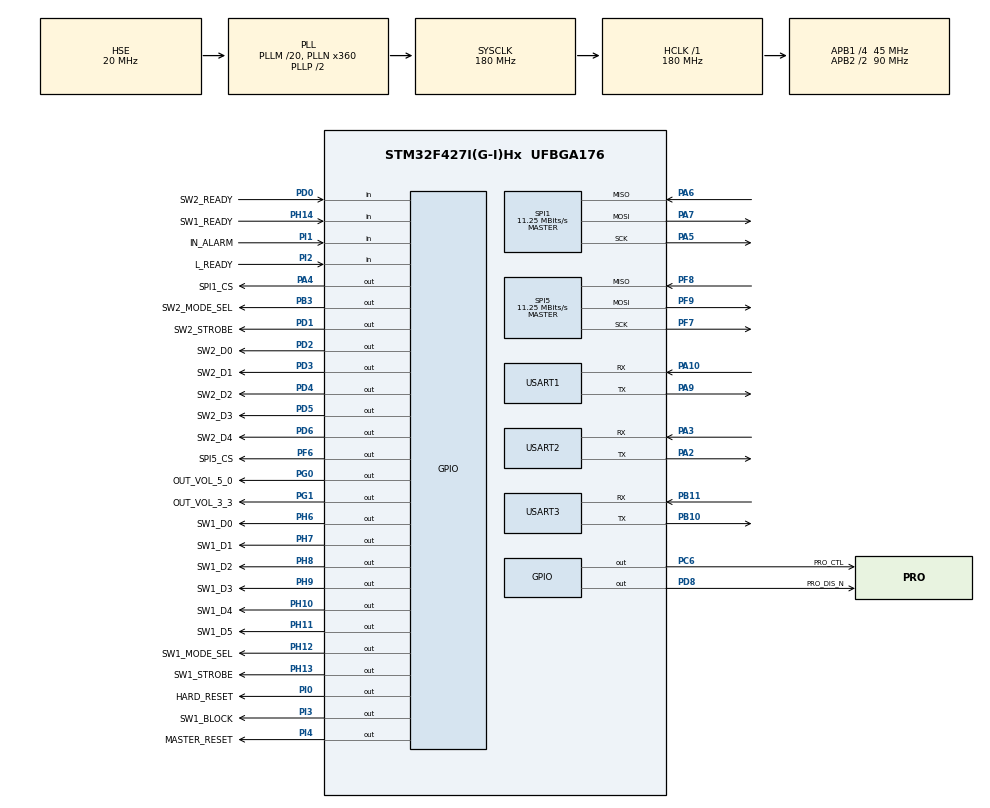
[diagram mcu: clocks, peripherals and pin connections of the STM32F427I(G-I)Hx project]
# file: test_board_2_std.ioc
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Mcu.Family=STM32F4
Mcu.Name=STM32F427I(G-I)Hx
Mcu.Package=UFBGA176
NVIC.PriorityGroup=NVIC_PRIORITYGROUP_4
NVIC.TIM2_IRQn=true\:0\:0\:false\:false\:true\:true\:true
NVIC.TIM3_IRQn=true\:0\:0\:false\:false\:true\:true\:true
NVIC.USART1_IRQn=true\:0\:0\:false\:false\:true\:true\:true
NVIC.USART2_IRQn=true\:0\:0\:false\:false\:true\:true\:true
NVIC.USART3_IRQn=true\:0\:0\:false\:false\:true\:true\:true
PA10.Mode=Asynchronous
PA10.Signal=USART1_RX
PA2.Mode=Asynchronous
PA2.Signal=USART2_TX
PA3.Mode=Asynchronous
PA3.Signal=USART2_RX
PA4.GPIO_Label=SPI1_CS
PA4.Signal=GPIO_Output
PA5.Mode=Full_Duplex_Master
PA5.Signal=SPI1_SCK
PA6.Mode=Full_Duplex_Master
PA6.Signal=SPI1_MISO
PA7.Mode=Full_Duplex_Master
PA7.Signal=SPI1_MOSI
PA9.Mode=Asynchronous
PA9.Signal=USART1_TX
PB10.Mode=Asynchronous
PB10.Signal=USART3_TX
PB11.Mode=Asynchronous
PB11.Signal=USART3_RX
PB3.GPIO_Label=SW2_MODE_SEL
PB3.GPIO_PuPd=GPIO_PULLUP
PB3.Signal=GPIO_Output
PC6.GPIO_Label=PRO_CTL
PC6.Signal=GPIO_Output
PD0.GPIO_Label=SW2_READY
PD0.Signal=GPIO_Input
PD1.GPIO_Label=SW2_STROBE
PD1.GPIO_PuPd=GPIO_PULLUP
PD1.Signal=GPIO_Output
PD2.GPIO_Label=SW2_D0
PD2.GPIO_PuPd=GPIO_PULLDOWN
PD2.Signal=GPIO_Output
PD3.GPIO_Label=SW2_D1
PD3.GPIO_PuPd=GPIO_PULLDOWN
PD3.Signal=GPIO_Output
PD4.GPIO_Label=SW2_D2
PD4.GPIO_PuPd=GPIO_PULLDOWN
PD4.Signal=GPIO_Output
PD5.GPIO_Label=SW2_D3
PD5.GPIO_PuPd=GPIO_PULLDOWN
PD5.Signal=GPIO_Output
PD6.GPIO_Label=SW2_D4
PD6.GPIO_PuPd=GPIO_PULLDOWN
PD6.Signal=GPIO_Output
PD8.GPIO_Label=PRO_DIS_N
PD8.GPIO_PuPd=GPIO_PULLUP
PD8.Signal=GPIO_Output
PF6.GPIO_Label=SPI5_CS
PF6.Signal=GPIO_Output
PF7.Mode=Full_Duplex_Master
PF7.Signal=SPI5_SCK
PF8.Mode=Full_Duplex_Master
PF8.Signal=SPI5_MISO
PF9.Mode=Full_Duplex_Master
PF9.Signal=SPI5_MOSI
PG0.GPIO_Label=OUT_VOL_5_0
PG0.GPIO_PuPd=GPIO_PULLDOWN
PG0.Signal=GPIO_Output
PG1.GPIO_Label=OUT_VOL_3_3
PG1.GPIO_PuPd=GPIO_PULLDOWN
PG1.Signal=GPIO_Output
PH0/OSC_IN.Mode=HSE-External-Oscillator
PH0/OSC_IN.Signal=RCC_OSC_IN
PH1/OSC_OUT.Mode=HSE-External-Oscillator
PH1/OSC_OUT.Signal=RCC_OSC_OUT
PH10.GPIO_Label=SW1_D4
PH10.GPIO_PuPd=GPIO_PULLDOWN
PH10.Signal=GPIO_Output
PH11.GPIO_Label=SW1_D5
PH11.GPIO_PuPd=GPIO_PULLDOWN
PH11.Signal=GPIO_Output
PH12.GPIO_Label=SW1_MODE_SEL
PH12.GPIO_PuPd=GPIO_PULLUP
PH12.Signal=GPIO_Output
PH13.GPIO_Label=SW1_STROBE
PH13.GPIO_PuPd=GPIO_PULLUP
PH13.Signal=GPIO_Output
PH14.GPIO_Label=SW1_READY
PH14.Signal=GPIO_Input
PH6.GPIO_Label=SW1_D0
PH6.GPIO_PuPd=GPIO_PULLDOWN
PH6.Signal=GPIO_Output
PH7.GPIO_Label=SW1_D1
PH7.GPIO_PuPd=GPIO_PULLDOWN
PH7.Signal=GPIO_Output
PH8.GPIO_Label=SW1_D2
PH8.GPIO_PuPd=GPIO_PULLDOWN
PH8.Signal=GPIO_Output
PH9.GPIO_Label=SW1_D3
PH9.GPIO_PuPd=GPIO_PULLDOWN
PH9.Signal=GPIO_Output
PI0.GPIO_Label=HARD_RESET
PI0.GPIO_PuPd=GPIO_PULLUP
PI0.Signal=GPIO_Output
PI1.GPIO_Label=IN_ALARM
PI1.Signal=GPIO_Input
PI2.GPIO_Label=L_READY
PI2.Signal=GPIO_Input
PI3.GPIO_Label=SW1_BLOCK
PI3.GPIO_PuPd=GPIO_PULLUP
PI3.Signal=GPIO_Output
PI4.GPIO_Label=MASTER_RESET
PI4.GPIO_PuPd=GPIO_PULLUP
PI4.Signal=GPIO_Output
ProjectManager.HeapSize=0x200
ProjectManager.StackSize=0x400
ProjectManager.TargetToolchain=MDK-ARM V5
RCC.48MHZClocksFreq_Value=90000000
RCC.AHBFreq_Value=180000000
RCC.APB1CLKDivider=RCC_HCLK_DIV4
RCC.APB1Freq_Value=45000000
RCC.APB1TimFreq_Value=90000000
RCC.APB2CLKDivider=RCC_HCLK_DIV2
RCC.APB2Freq_Value=90000000
RCC.APB2TimFreq_Value=180000000
RCC.CortexFreq_Value=180000000
RCC.HCLKFreq_Value=180000000
RCC.HSE_VALUE=20000000
RCC.HSI_VALUE=16000000
RCC.LSE_VALUE=32768
RCC.PLLM=20
RCC.PLLN=360
RCC.PLLSourceVirtual=RCC_PLLSOURCE_HSE
RCC.SYSCLKFreq_VALUE=180000000
RCC.SYSCLKSource=RCC_SYSCLKSOURCE_PLLCLK
RCC.VCOOutputFreq_Value=360000000
SPI1.BaudRatePrescaler=SPI_BAUDRATEPRESCALER_8
SPI1.CalculateBaudRate=11.25 MBits/s
SPI1.Direction=SPI_DIRECTION_2LINES
SPI1.Mode=SPI_MODE_MASTER
SPI1.VirtualType=VM_MASTER
SPI5.BaudRatePrescaler=SPI_BAUDRATEPRESCALER_8
SPI5.CalculateBaudRate=11.25 MBits/s
SPI5.Direction=SPI_DIRECTION_2LINES
SPI5.Mode=SPI_MODE_MASTER
SPI5.VirtualType=VM_MASTER
TIM2.AutoReloadPreload=TIM_AUTORELOAD_PRELOAD_ENABLE
TIM2.Period=1500
TIM2.Prescaler=44999
TIM3.AutoReloadPreload=TIM_AUTORELOAD_PRELOAD_ENABLE
TIM3.Period=1
TIM3.Prescaler=44999
USART1.VirtualMode=VM_ASYNC
USART2.VirtualMode=VM_ASYNC
USART3.VirtualMode=VM_ASYNC
VP_TIM2_VS_ClockSourceINT.Mode=Internal
VP_TIM3_VS_ClockSourceINT.Mode=Internal
board=custom

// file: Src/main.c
/* USER CODE BEGIN Header */
/**
  ******************************************************************************
  * @file           : main.c
  * @brief          : Main program body
  ******************************************************************************
  * @attention
  *
  * <h2><center>&copy; Copyright (c) 2020 STMicroelectronics.
  * All rights reserved.</center></h2>
  *
  * This software component is licensed by ST under BSD 3-Clause license,
  * the "License"; You may not use this file except in compliance with the
  * License. You may obtain a copy of the License at:
  *                        opensource.org/licenses/BSD-3-Clause
  *
  ******************************************************************************
  */
/* USER CODE END Header */

#include "main.h"
#include "spi.h"
#include "tim.h"
#include "usart.h"
#include "gpio.h"

/* USER CODE BEGIN Includes */
#include <stdio.h>
#include <string.h>
#include "cmd.h"
#include "function.h"
#include "ring_buffer.h"

/* USER CODE END Includes */

/* USER CODE BEGIN PD */
#define VER "MON32_testboard_1.0.8"
#define CMD_LENGTH 256
/* USER CODE END PD */

void SystemClock_Config(void);

/* USER CODE BEGIN 0 */
uint8_t terminal_buf[2048];
uint8_t communication_buf[TRANS_MAX_LENGTH];
uint32_t tim_counter = 0;
uint32_t tim_counter_max = 1;
uint32_t tim2_counter = 0;

extern usart_tr_stu *usart1_tr;
uint8_t uart1_data;
uint8_t uart1_irq_sel;
uint8_t print_trans_data;

/* USER CODE END 0 */

int main(void)
{
  /* USER CODE BEGIN 1 */
  uint8_t ch, r_flag = 0;
  uint8_t cmd[CMD_LENGTH];
  uint32_t cmd_len = 0;

  /* USER CODE END 1 */

  /* MCU Configuration--------------------------------------------------------*/

  /* Reset of all peripherals, Initializes the Flash interface and the Systick. */
  HAL_Init();

  /* Configure the system clock */
  SystemClock_Config();

  /* Initialize all configured peripherals */
  MX_GPIO_Init();
  MX_SPI1_Init();
  MX_SPI5_Init();
  MX_TIM2_Init();
  MX_TIM3_Init();
  MX_USART1_UART_Init();
  MX_USART2_UART_Init();
  MX_USART3_UART_Init();
  /* USER CODE BEGIN 2 */
  print_trans_data = 0;
  CLEAR_BIT(TERMINAL_UART.Instance->SR, USART_SR_RXNE);
  __HAL_UART_FLUSH_DRREGISTER(&TERMINAL_UART);
  rb_init(usart1_tr->rb, USART_RX_BUF_SIZE, usart1_tr->rx_buf);
  rb_init(usart1_tr->wb, USART_TX_BUF_SIZE, usart1_tr->tx_buf);
  uart1_irq_sel = 1;
  __HAL_UART_ENABLE_IT(&TERMINAL_UART, UART_IT_RXNE);

  HAL_GPIO_WritePin(SW1_MODE_SEL_GPIO_Port, SW1_MODE_SEL_Pin, GPIO_PIN_SET);
  HAL_GPIO_WritePin(SW2_MODE_SEL_GPIO_Port, SW2_MODE_SEL_Pin, GPIO_PIN_SET);
  HAL_GPIO_WritePin(SW1_STROBE_GPIO_Port, SW1_STROBE_Pin, GPIO_PIN_SET);
  HAL_GPIO_WritePin(SW2_STROBE_GPIO_Port, SW2_STROBE_Pin, GPIO_PIN_SET);
  HAL_GPIO_WritePin(SW1_BLOCK_GPIO_Port, SW1_BLOCK_Pin, GPIO_PIN_SET);
  HAL_GPIO_WritePin(PRO_DIS_N_GPIO_Port, PRO_DIS_N_Pin, GPIO_PIN_SET);
  HAL_GPIO_WritePin(PRO_CTL_GPIO_Port, PRO_CTL_Pin, GPIO_PIN_SET);
  HAL_GPIO_WritePin(HARD_RESET_GPIO_Port, HARD_RESET_Pin, GPIO_PIN_SET);
  HAL_GPIO_WritePin(MASTER_RESET_GPIO_Port, MASTER_RESET_Pin, GPIO_PIN_SET);
  HAL_GPIO_WritePin(SPI1_CS_GPIO_Port, SPI1_CS_Pin, GPIO_PIN_SET);
  HAL_GPIO_WritePin(SPI5_CS_GPIO_Port, SPI5_CS_Pin, GPIO_PIN_SET);

  PRINT("\r\nCOM is ready\r\n");
  PRINT("Firmware Version: " VER "\r\n");
  PRINT(">");
  /* USER CODE END 2 */

  /* Infinite loop */
  /* USER CODE BEGIN WHILE */
  while (1)
  {
    if (serial_available() > 0) {
      ch = serial_read();

      if (ch == '\r' || ch == '\n') {
        if (ch == '\r') {
          r_flag = 1;
        } else {
          if (r_flag) {
            r_flag = 0;
            continue;
          }
        }
        PRINT("\r\n");
        cmd[cmd_len] = 0;
        process_cmd((char*)cmd);
        PRINT(">");
        cmd_len = 0;
      } else if (ch == '\b') {
        if (cmd_len > 0) {
          HAL_UART_Transmit(&TERMINAL_UART, &ch, 1, 0xFFFFFFFF);
          PRINT(" ");
          HAL_UART_Transmit(&TERMINAL_UART, &ch, 1, 0xFFFFFFFF);
          --cmd_len;
        }
        r_flag = 0;
      } else {
        if (cmd_len < CMD_LENGTH - 1)
          cmd[cmd_len++] = ch;
        HAL_UART_Transmit(&TERMINAL_UART, &ch, 1, 0xFFFFFFFF);
        r_flag = 0;
      }
    }
    /* USER CODE END WHILE */

  }
}

void SystemClock_Config(void)
{
  RCC_OscInitTypeDef RCC_OscInitStruct = {0};
  RCC_ClkInitTypeDef RCC_ClkInitStruct = {0};

  /** Configure the main internal regulator output voltage
  */
  __HAL_RCC_PWR_CLK_ENABLE();
  __HAL_PWR_VOLTAGESCALING_CONFIG(PWR_REGULATOR_VOLTAGE_SCALE1);
  /** Initializes the CPU, AHB and APB busses clocks
  */
  RCC_OscInitStruct.OscillatorType = RCC_OSCILLATORTYPE_HSE;
  RCC_OscInitStruct.HSEState = RCC_HSE_ON;
  RCC_OscInitStruct.PLL.PLLState = RCC_PLL_ON;
  RCC_OscInitStruct.PLL.PLLSource = RCC_PLLSOURCE_HSE;
  RCC_OscInitStruct.PLL.PLLM = 20;
  RCC_OscInitStruct.PLL.PLLN = 360;
  RCC_OscInitStruct.PLL.PLLP = RCC_PLLP_DIV2;
  RCC_OscInitStruct.PLL.PLLQ = 4;
  if (HAL_RCC_OscConfig(&RCC_OscInitStruct) != HAL_OK)
  {
    Error_Handler();
  }
  /** Activate the Over-Drive mode
  */
  if (HAL_PWREx_EnableOverDrive() != HAL_OK)
  {
    Error_Handler();
  }
  /** Initializes the CPU, AHB and APB busses clocks
  */
  RCC_ClkInitStruct.ClockType = RCC_CLOCKTYPE_HCLK|RCC_CLOCKTYPE_SYSCLK
                              |RCC_CLOCKTYPE_PCLK1|RCC_CLOCKTYPE_PCLK2;
  RCC_ClkInitStruct.SYSCLKSource = RCC_SYSCLKSOURCE_PLLCLK;
  RCC_ClkInitStruct.AHBCLKDivider = RCC_SYSCLK_DIV1;
  RCC_ClkInitStruct.APB1CLKDivider = RCC_HCLK_DIV4;
  RCC_ClkInitStruct.APB2CLKDivider = RCC_HCLK_DIV2;

  if (HAL_RCC_ClockConfig(&RCC_ClkInitStruct, FLASH_LATENCY_5) != HAL_OK)
  {
    Error_Handler();
  }
}

/* USER CODE BEGIN 4 */
console_cmd cmdlist[] = {
  {"poweron", cmd_power, "Command about power", "poweron", "poweron"},
  {"poweroff", cmd_power, "Command about power", "poweroff", "poweroff"},
  {"sn", cmd_get_sn, "Get Serial Number", "sn", "sn"},
  {"mdate", cmd_get_date, "Get Menufacture Date", "date", "date"},
  {"pn", cmd_get_pn, "Get Part Number", "pn", "pn"},
  {"vendor", cmd_get_vendor, "Get Vendor", "vendor", "vendor"},
  {"version", cmd_version, "Get version", "version", "version"},
  {"txsw", cmd_switch, "Command about tx switch", "txsw write <in> to <out> | read", "txsw write 1 to 32 | txsw read"},
  {"rxsw", cmd_switch, "Command about rx switch", "rxsw write <channel> | read", "rxsw write 32 | rxsw read"},
  {"temp", cmd_temp, "Get device temperature", "temp", "temp"},
  {"il", cmd_IL, "Get Optical Switch Insertion Loss", "il <0/1>", "il 0"},
  {"tosa", cmd_tosa, "Command about tosa", "tosa set <high> <low> | get | thr", "tosa set 0 -4 | tosa get | tosa thr"},
  {"pd2", cmd_rx_pd_cali, "Get RX PD calibration data", "pd2", "pd2"},
  {"pd1", cmd_tap_pd_cali, "Get TAP PD calibration data", "pd1", "pd1"},
  {"voltage", cmd_voltage, "Get device voltage", "voltage get", "voltage get"},
  {"loopback", cmd_loopback, "Command about loopback check", "loopback check | status", "loopback check | status"},
  {"alarm", cmd_alarm, "Get alarm", "alarm", "alarm"},
  {"modulation", cmd_modulation, "Command about tosa", "modulation on | off | mode", "modulation on | off | mode"},
  {"status", cmd_device_status, "Get device status", "status", "status"},
  {"history_alarm", cmd_history_alarm, "Get history alarm", "history_alarm", "history_alarm"},
  {"upgrade", cmd_upgrade, "Command about upgrade", "upgrade init | file | run", "upgrade init | file | run"},
  {"reset", cmd_reset, "Reset the device", "reset <soft | hard | master>", "reset soft"},
  {"date", cmd_time, "Set/Get module time", "date get | set y m d h m s", "date get | set 2020 7 29 15 55 50"},
  {"performance", cmd_performance, "Get performance", "performance [id1] [id2] ... | all", "performance 1 5 | performance all"},
  {"threshold", cmd_threshold, "Set/Get threshold", "threshold get <id> | set <id> <low> <high>", "threshold get 0 | set 0 -100 800"},
  {"log", cmd_log, "Command about log", "log size <type> | get <type> <offset> <length>", "log size 1 | get 1 0x100 128"},
  {"debug", cmd_for_debug, "Command for debug", "debug", "debug"},
  {"help", cmd_help, "Help information", "help | <cmd> help", "help | upgrade help"},
};
const uint32_t cmd_count = sizeof(cmdlist) / sizeof(cmdlist[0]);

void HAL_UART_RxCpltCallback(UART_HandleTypeDef *huart)
{
  if (huart->Instance == TERMINAL_UART.Instance) {
    if (rb_is_full(usart1_tr->rb)) {
        rb_remove(usart1_tr->rb);
    }
    rb_insert(usart1_tr->rb, uart1_data);

    HAL_UART_Receive_IT(&TERMINAL_UART, &uart1_data, 1);
  }
}

void HAL_TIM_PeriodElapsedCallback(TIM_HandleTypeDef *htim)
{
  if (htim->Instance == TIM3) {
    if (++tim_counter >= tim_counter_max) {
      HAL_GPIO_TogglePin(PRO_CTL_GPIO_Port, PRO_CTL_Pin);
      tim_counter = 0;
    }
  } else if (htim->Instance == TIM2) {
    tim2_counter++;
  }
}
#if 0
console_cmd cmdlist[] = {
  {"status", cmd_device_status, "Get device status", "status", "status"},
  {"voltage", cmd_voltage, "Get device voltage", "voltage get | get thr", "voltage get | get thr"},
  {"date", cmd_time, "Set/Get module time", "date get | set y m d h m s", "date get | set 2020 7 29 15 55 50"},
  {"log", cmd_log, "Command about log", "log packets | get <packets> <number>", "log packets | get 123 2"},
  {"switch", cmd_switch, "Command about switch", "switch write <chan> | read", "switch write 31 | read"},
  {"il", cmd_IL, "Get Optical Switch Insertion Loss", "il", "il"},
  {"maintain", cmd_maintain, "Get maintain information", "maintain", "maintain"},
  {"debug", cmd_for_debug, "Command for debug", "debug", "debug"},
  {"help", cmd_help, "Help information", "help | <cmd> help", "help | upgrade help"},
};
const uint32_t cmd_count = sizeof(cmdlist) / sizeof(cmdlist[0]);

void HAL_TIM_PeriodElapsedCallback(TIM_HandleTypeDef *htim)
{
  if (htim->Instance == TIM2) {
  }
}
#endif

/* USER CODE END 4 */

void Error_Handler(void)
{
}

/************************ (C) COPYRIGHT STMicroelectronics *****END OF FILE****/
